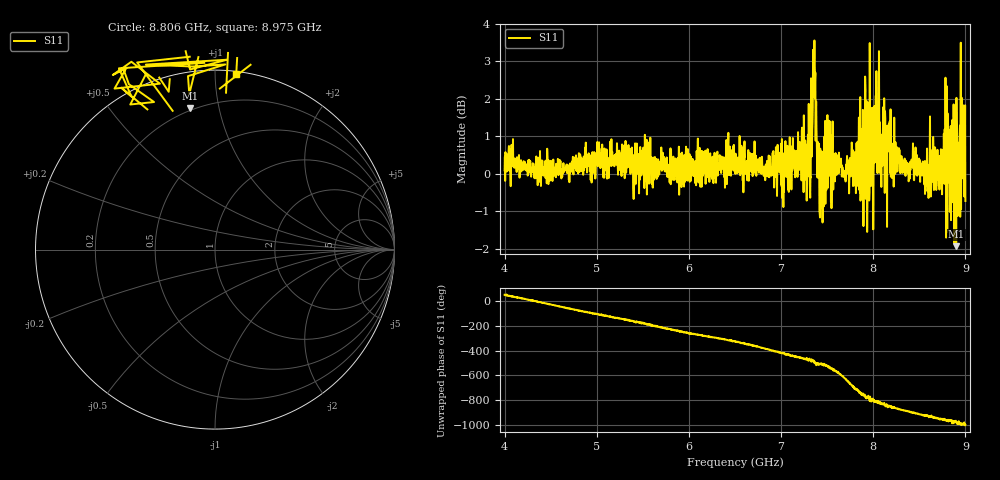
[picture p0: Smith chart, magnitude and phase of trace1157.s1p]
! Created with skrf 1.8.0 (http://scikit-rf.org).
# Hz S RI R 50.0
!freq ReS11 ImS11
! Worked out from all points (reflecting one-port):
!   1601 points, 4 GHz to 9 GHz, reference 50 ohm
!   lowest |S11| = -1.9 dB at 8.9 GHz (marker M1), VSWR 9.03, Z = 9.38 + j41.2 ohm
!   phase of S11 starts at 52 deg and turns -1052 deg over the sweep
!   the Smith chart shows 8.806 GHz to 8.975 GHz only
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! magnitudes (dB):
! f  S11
! 4 GHz  0.1
! 4.625 GHz  -0.1
! 5.25 GHz  0.1
! 5.875 GHz  -0.2
! 6.5 GHz  0.3
! 7.125 GHz  0.4
! 7.297 GHz  0.4
! 7.319 GHz  -0.1
! 7.347 GHz  3.3
! 7.362 GHz  3.6
! 7.4 GHz  -0.1
! 7.425 GHz  0.7
! 7.512 GHz  0.9
! 7.566 GHz  -0.4
! 7.75 GHz  0.1
! 7.816 GHz  -0.2
! 7.966 GHz  0.6
! 7.997 GHz  1.0
! 8.038 GHz  1.4
! 8.375 GHz  0.0
! 8.578 GHz  0.3
! 8.631 GHz  -0.1
! 8.728 GHz  -0.2
! 8.8 GHz  1.1
! 8.856 GHz  0.4
! 8.9 GHz  -1.9
! 8.972 GHz  0.6
! 9 GHz  -0.7
